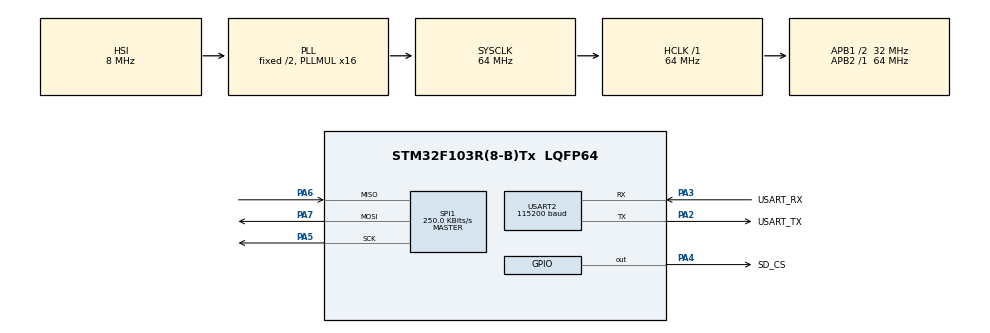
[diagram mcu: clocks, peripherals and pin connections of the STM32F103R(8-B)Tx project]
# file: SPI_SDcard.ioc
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Mcu.Family=STM32F1
Mcu.Name=STM32F103R(8-B)Tx
Mcu.Package=LQFP64
NVIC.PriorityGroup=NVIC_PRIORITYGROUP_4
PA13.GPIO_Label=TMS
PA13.Mode=Serial_Wire
PA13.Signal=SYS_JTMS-SWDIO
PA14.GPIO_Label=TCK
PA14.Mode=Serial_Wire
PA14.Signal=SYS_JTCK-SWCLK
PA2.GPIO_Label=USART_TX
PA2.GPIO_Mode=GPIO_MODE_AF_PP
PA2.GPIO_PuPd=GPIO_NOPULL
PA2.GPIO_Speed=GPIO_SPEED_FREQ_LOW
PA2.Mode=Asynchronous
PA2.Signal=USART2_TX
PA3.GPIO_Label=USART_RX
PA3.GPIO_PuPd=GPIO_NOPULL
PA3.GPIO_Speed=GPIO_SPEED_FREQ_LOW
PA3.Mode=Asynchronous
PA3.Signal=USART2_RX
PA4.GPIO_Label=SD_CS
PA4.GPIO_ModeDefaultOutputPP=GPIO_MODE_OUTPUT_PP
PA4.GPIO_PuPd=GPIO_NOPULL
PA4.GPIO_Speed=GPIO_SPEED_FREQ_HIGH
PA4.PinState=GPIO_PIN_SET
PA4.Signal=GPIO_Output
PA5.GPIO_Speed=GPIO_SPEED_FREQ_HIGH
PA5.Mode=Full_Duplex_Master
PA5.Signal=SPI1_SCK
PA6.GPIO_PuPd=GPIO_PULLUP
PA6.Mode=Full_Duplex_Master
PA6.Signal=SPI1_MISO
PA7.GPIO_Speed=GPIO_SPEED_FREQ_HIGH
PA7.Mode=Full_Duplex_Master
PA7.Signal=SPI1_MOSI
PB3.GPIO_Label=SWO
PB3.Signal=SYS_JTDO-TRACESWO
PC14-OSC32_IN.Mode=LSE-External-Oscillator
PC14-OSC32_IN.Signal=RCC_OSC32_IN
PC15-OSC32_OUT.Mode=LSE-External-Oscillator
PC15-OSC32_OUT.Signal=RCC_OSC32_OUT
PD0-OSC_IN.Mode=HSE-External-Clock-Source
PD0-OSC_IN.Signal=RCC_OSC_IN
PD1-OSC_OUT.Mode=HSE-External-Clock-Source
PD1-OSC_OUT.Signal=RCC_OSC_OUT
ProjectManager.HeapSize=0x200
ProjectManager.StackSize=0x400
ProjectManager.TargetToolchain=STM32CubeIDE
RCC.AHBFreq_Value=64000000
RCC.APB1CLKDivider=RCC_HCLK_DIV2
RCC.APB1Freq_Value=32000000
RCC.APB1TimFreq_Value=64000000
RCC.APB2Freq_Value=64000000
RCC.APB2TimFreq_Value=64000000
RCC.HCLKFreq_Value=64000000
RCC.PLLMUL=RCC_PLL_MUL16
RCC.RTCClockSelection=RCC_RTCCLKSOURCE_LSE
RCC.SYSCLKFreq_VALUE=64000000
RCC.SYSCLKSource=RCC_SYSCLKSOURCE_PLLCLK
RCC.USBFreq_Value=64000000
SPI1.BaudRatePrescaler=SPI_BAUDRATEPRESCALER_256
SPI1.CalculateBaudRate=250.0 KBits/s
SPI1.Direction=SPI_DIRECTION_2LINES
SPI1.Mode=SPI_MODE_MASTER
SPI1.VirtualType=VM_MASTER
USART2.BaudRate=115200
USART2.VirtualMode=VM_ASYNC
board=NUCLEO-F103RB

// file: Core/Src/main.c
/* USER CODE BEGIN Header */
/**
 ******************************************************************************
 * @file           : main.c
 * @brief          : Main program body
 ******************************************************************************
 * @attention
 *
 * Copyright (c) 2026 STMicroelectronics.
 * All rights reserved.
 *
 * This software is licensed under terms that can be found in the LICENSE file
 * in the root directory of this software component.
 * If no LICENSE file comes with this software, it is provided AS-IS.
 *
 ******************************************************************************
 */
/**
 * 04_SPI_SDcard_c  —  [계층: HAL]  SPI 모드로 SD 카드 초기화와 섹터 읽기 (파일시스템 없이 raw 블록 접근)
 *
 * 배선 (마이크로 SD 모듈, SPI 모드, 3.3V 전용 모듈 사용)
 *   VCC=3.3V, GND
 *   SCK = PA5 (SPI1_SCK, LD2 와 공유),  MOSI = PA7,  MISO = PA6,  CS = PA4 (GPIO)
 *   MISO 에 10kΩ 풀업을 두면 카드가 없을 때도 선이 안정적이다.
 *
 * SD 카드 SPI 모드 초기화 순서 (SD 물리 계층 규격)
 *   1) 카드 선택 해제(CS=High) 상태로 SCK 74클럭 이상, 클럭 400kHz 이하 (아래에서는 250kHz 로 시작)
 *   2) CMD0 (GO_IDLE_STATE)  -> R1 = 0x01 (idle) : 이 명령으로 SPI 모드가 선택된다 (CRC 0x95 필수)
 *   3) CMD8 (SEND_IF_COND, 인자 0x1AA) -> 응답 R7 : 전압 범위/체크 패턴 확인. (v2 카드 이상, CRC 0x87)
 *   4) ACMD41 (= CMD55 + CMD41, 인자 HCS=0x40000000) 를 R1 = 0x00 이 될 때까지 반복 : 카드 내부 초기화 완료 대기
 *   5) CMD58 (READ_OCR) : OCR 의 CCS 비트(0x40000000)가 1 이면 SDHC/SDXC (블록 주소 지정), 0 이면 SDSC (바이트 주소 지정)
 *   6) 이후 클럭을 올린다(여기서는 8MHz)
 *   블록 읽기: CMD17 (READ_SINGLE_BLOCK, 인자 = 섹터 번호(SDHC) 또는 바이트 주소(SDSC)) -> R1 -> 데이터 토큰 0xFE -> 512바이트 -> CRC 2바이트
 *   용량:      CMD9 (SEND_CSD) 로 16바이트 CSD 를 읽어 C_SIZE 로 계산
 *
 * 동작: 초기화 -> 카드 종류/용량/OCR 출력 -> 섹터 0 을 읽어 앞부분 16바이트와 MBR 서명(0x55AA)/첫 파티션 정보를 UART(115200)로 출력.
 *       *** 이 예제는 읽기만 한다. 카드 내용을 바꾸지 않는다. ***
 * 이후 단계: FAT 파일시스템(FatFs, 프레임워크 Middlewares/Third_Party/FatFs)은 이 read/write 블록 함수 위에 붙인다.
 *
 * 인터럽트를 사용하지 않는다 (블로킹 SPI).
 */
/* USER CODE END Header */
#include "main.h"

/* USER CODE BEGIN Includes */
#include <stdio.h>
#include <string.h>
/* USER CODE END Includes */

/* USER CODE BEGIN PD */
#define CS_LOW()   HAL_GPIO_WritePin(SD_CS_GPIO_Port, SD_CS_Pin, GPIO_PIN_RESET)
#define CS_HIGH()  HAL_GPIO_WritePin(SD_CS_GPIO_Port, SD_CS_Pin, GPIO_PIN_SET)

/* USER CODE END PD */

SPI_HandleTypeDef hspi1;
UART_HandleTypeDef huart2;

/* USER CODE BEGIN PV */
static int is_sdhc;             /* 1 = 블록(섹터) 주소, 0 = 바이트 주소 */
/* USER CODE END PV */

void SystemClock_Config(void);
static void MX_GPIO_Init(void);
static void MX_SPI1_Init(void);
static void MX_USART2_UART_Init(void);
/* USER CODE BEGIN PFP */
static void SPI1_Reinit(uint32_t prescaler);

/* USER CODE END PFP */

/* USER CODE BEGIN 0 */
static void print(const char *s) { HAL_UART_Transmit(&huart2, (uint8_t *)s, (uint16_t)strlen(s), 200); }

/* ---------------- SPI 1바이트 교환 ---------------- */
static uint8_t xfer(uint8_t b)
{
    uint8_t r = 0xFF;
    HAL_SPI_TransmitReceive(&hspi1, &b, &r, 1, 20);
    return r;
}

static void deselect(void) { CS_HIGH(); xfer(0xFF); }       /* 카드가 MISO 를 놓도록 추가 클럭 8개 */

/* 명령 전송 후 R1 응답 반환 (0xFF = 응답 없음). CS 는 호출자가 관리 */
static uint8_t sd_cmd(uint8_t cmd, uint32_t arg)
{
    uint8_t crc = (cmd == 0) ? 0x95 : (cmd == 8) ? 0x87 : 0x01;   /* SPI 모드에서는 CMD0, CMD8 만 CRC 검사 */
    xfer(0xFF);                                             /* 준비 클럭 */
    xfer((uint8_t)(0x40 | cmd));
    xfer((uint8_t)(arg >> 24)); xfer((uint8_t)(arg >> 16)); xfer((uint8_t)(arg >> 8)); xfer((uint8_t)arg);
    xfer(crc);
    uint8_t r = 0xFF;
    for (int i = 0; i < 10 && (r & 0x80); i++) r = xfer(0xFF);   /* R1 은 최상위 비트가 0 인 첫 바이트 */
    return r;
}

/* 초기화. 성공 시 1 */
static int sd_init(void)
{
    SPI1_Reinit(SPI_BAUDRATEPRESCALER_256);             /* 64MHz/256 = 250kHz (초기화는 400kHz 이하) */
    CS_HIGH();
    for (int i = 0; i < 10; i++) xfer(0xFF);                /* 80 클럭 */

    CS_LOW();
    if (sd_cmd(0, 0) != 0x01) { deselect(); print("CMD0 failed (no card / wiring)\r\n"); return 0; }

    uint8_t r7[4] = {0};
    is_sdhc = 0;
    if (sd_cmd(8, 0x1AA) == 0x01)                           /* v2 카드 */
    {
        for (int i = 0; i < 4; i++) r7[i] = xfer(0xFF);
        if (r7[2] != 0x01 || r7[3] != 0xAA) { deselect(); print("CMD8 echo mismatch\r\n"); return 0; }

        uint32_t t0 = HAL_GetTick();
        uint8_t r;
        do { sd_cmd(55, 0); r = sd_cmd(41, 0x40000000); }   /* ACMD41 with HCS */
        while (r != 0x00 && (HAL_GetTick() - t0) < 1000);
        if (r != 0x00) { deselect(); print("ACMD41 timeout\r\n"); return 0; }

        if (sd_cmd(58, 0) == 0x00)                          /* OCR 읽기 */
        {
            uint8_t ocr[4];
            for (int i = 0; i < 4; i++) ocr[i] = xfer(0xFF);
            is_sdhc = (ocr[0] & 0x40) != 0;                 /* CCS 비트 */
            char m[64];
            snprintf(m, sizeof m, "OCR = %02X%02X%02X%02X\r\n", ocr[0], ocr[1], ocr[2], ocr[3]);
            print(m);
        }
    }
    else                                                    /* v1 카드/MMC: 이 예제는 v2 이상만 지원 */
    {
        deselect(); print("v1 card not supported by this example\r\n"); return 0;
    }
    deselect();
    SPI1_Reinit(SPI_BAUDRATEPRESCALER_8);               /* 이후 8MHz */
    return 1;
}

/* 512바이트 블록 하나 읽기. 성공 시 1 */
static int sd_read_block(uint32_t sector, uint8_t *buf)
{
    CS_LOW();
    if (sd_cmd(17, is_sdhc ? sector : sector * 512UL) != 0x00) { deselect(); return 0; }
    uint32_t t0 = HAL_GetTick();
    uint8_t tok;
    do { tok = xfer(0xFF); } while (tok == 0xFF && (HAL_GetTick() - t0) < 200);   /* 데이터 토큰 대기 */
    if (tok != 0xFE) { deselect(); return 0; }
    for (int i = 0; i < 512; i++) buf[i] = xfer(0xFF);
    xfer(0xFF); xfer(0xFF);                                 /* CRC 2바이트 (버림) */
    deselect();
    return 1;
}

/* CSD 로 용량(MB) 계산. 실패 시 0 */
static uint32_t sd_capacity_mb(void)
{
    uint8_t csd[16];
    CS_LOW();
    if (sd_cmd(9, 0) != 0x00) { deselect(); return 0; }
    uint32_t t0 = HAL_GetTick();
    uint8_t tok;
    do { tok = xfer(0xFF); } while (tok == 0xFF && (HAL_GetTick() - t0) < 200);
    if (tok != 0xFE) { deselect(); return 0; }
    for (int i = 0; i < 16; i++) csd[i] = xfer(0xFF);
    xfer(0xFF); xfer(0xFF);
    deselect();

    if ((csd[0] >> 6) == 1)                                 /* CSD v2 (SDHC/SDXC): 용량 = (C_SIZE+1) x 512KB */
    {
        uint32_t c_size = ((uint32_t)(csd[7] & 0x3F) << 16) | ((uint32_t)csd[8] << 8) | csd[9];
        return (c_size + 1) / 2;                            /* (C_SIZE+1) x 512KB = (C_SIZE+1)/2 MB */
    }
    uint32_t c_size = ((uint32_t)(csd[6] & 3) << 10) | ((uint32_t)csd[7] << 2) | (csd[8] >> 6);   /* CSD v1 */
    uint32_t mult = ((csd[9] & 3) << 1) | (csd[10] >> 7);
    uint32_t blen = csd[5] & 0x0F;
    return (uint32_t)(((uint64_t)(c_size + 1) << (mult + 2 + blen)) >> 20);
}
/* USER CODE END 0 */

int main(void)
{

  /* MCU Configuration--------------------------------------------------------*/

  /* Reset of all peripherals, Initializes the Flash interface and the Systick. */
  HAL_Init();

  /* Configure the system clock */
  SystemClock_Config();

  /* Initialize all configured peripherals */
  MX_GPIO_Init();
  MX_SPI1_Init();
  MX_USART2_UART_Init();
  /* USER CODE BEGIN 2 */
  print("\r\n[SD card over SPI] initializing...\r\n");
  if (!sd_init()) { print("init failed\r\n"); Error_Handler(); }

  char m[128];
  snprintf(m, sizeof m, "card type: %s,  capacity: %lu MB\r\n", is_sdhc ? "SDHC/SDXC (block addressing)" : "SDSC (byte addressing)",
           (unsigned long)sd_capacity_mb());
  print(m);

  static uint8_t sec[512];
  if (!sd_read_block(0, sec)) { print("read sector 0 failed\r\n"); Error_Handler(); }

  print("sector 0, first 16 bytes:");
  for (int i = 0; i < 16; i++) { snprintf(m, sizeof m, " %02X", sec[i]); print(m); }
  print("\r\n");
  snprintf(m, sizeof m, "signature @510 = %02X %02X  (%s)\r\n", sec[510], sec[511],
           (sec[510] == 0x55 && sec[511] == 0xAA) ? "valid MBR/boot sector" : "no MBR signature");
  print(m);
  if (sec[510] == 0x55 && sec[511] == 0xAA)
  {
      uint32_t lba = sec[454] | (sec[455] << 8) | (sec[456] << 16) | ((uint32_t)sec[457] << 24);
      snprintf(m, sizeof m, "partition 1: type=0x%02X  start LBA=%lu\r\n", sec[450], (unsigned long)lba);
      print(m);
  }
  /* USER CODE END 2 */

  /* Infinite loop */
  while (1)
  {

    /* USER CODE BEGIN 3 */
    HAL_Delay(1000);                          /* (LD2 는 SPI SCK 와 같은 핀이라 점멸 표시를 쓰지 않는다) */
  }
  /* USER CODE END 3 */
}

void SystemClock_Config(void)
{
  RCC_OscInitTypeDef RCC_OscInitStruct = {0};
  RCC_ClkInitTypeDef RCC_ClkInitStruct = {0};

  /** Initializes the RCC Oscillators according to the specified parameters
  * in the RCC_OscInitTypeDef structure.
  */
  RCC_OscInitStruct.OscillatorType = RCC_OSCILLATORTYPE_HSI;
  RCC_OscInitStruct.HSIState = RCC_HSI_ON;
  RCC_OscInitStruct.HSICalibrationValue = RCC_HSICALIBRATION_DEFAULT;
  RCC_OscInitStruct.PLL.PLLState = RCC_PLL_ON;
  RCC_OscInitStruct.PLL.PLLSource = RCC_PLLSOURCE_HSI_DIV2;
  RCC_OscInitStruct.PLL.PLLMUL = RCC_PLL_MUL16;
  if (HAL_RCC_OscConfig(&RCC_OscInitStruct) != HAL_OK)
  {
    Error_Handler();
  }

  /** Initializes the CPU, AHB and APB buses clocks
  */
  RCC_ClkInitStruct.ClockType = RCC_CLOCKTYPE_HCLK|RCC_CLOCKTYPE_SYSCLK
                              |RCC_CLOCKTYPE_PCLK1|RCC_CLOCKTYPE_PCLK2;
  RCC_ClkInitStruct.SYSCLKSource = RCC_SYSCLKSOURCE_PLLCLK;
  RCC_ClkInitStruct.AHBCLKDivider = RCC_SYSCLK_DIV1;
  RCC_ClkInitStruct.APB1CLKDivider = RCC_HCLK_DIV2;
  RCC_ClkInitStruct.APB2CLKDivider = RCC_HCLK_DIV1;

  if (HAL_RCC_ClockConfig(&RCC_ClkInitStruct, FLASH_LATENCY_2) != HAL_OK)
  {
    Error_Handler();
  }
}

static void MX_GPIO_Init(void)
{
  GPIO_InitTypeDef GPIO_InitStruct = {0};

  /* GPIO Ports Clock Enable */
  __HAL_RCC_GPIOC_CLK_ENABLE();
  __HAL_RCC_GPIOD_CLK_ENABLE();
  __HAL_RCC_GPIOA_CLK_ENABLE();
  __HAL_RCC_GPIOB_CLK_ENABLE();

  /*Configure GPIO pin Output Level */
  HAL_GPIO_WritePin(SD_CS_GPIO_Port, SD_CS_Pin, GPIO_PIN_SET);

  /*Configure GPIO pin : SD_CS_Pin */
  GPIO_InitStruct.Pin = SD_CS_Pin;
  GPIO_InitStruct.Mode = GPIO_MODE_OUTPUT_PP;
  GPIO_InitStruct.Pull = GPIO_NOPULL;
  GPIO_InitStruct.Speed = GPIO_SPEED_FREQ_HIGH;
  HAL_GPIO_Init(SD_CS_GPIO_Port, &GPIO_InitStruct);

}

static void MX_SPI1_Init(void)
{

  /* SPI1 parameter configuration*/
  hspi1.Instance = SPI1;
  hspi1.Init.Mode = SPI_MODE_MASTER;
  hspi1.Init.Direction = SPI_DIRECTION_2LINES;
  hspi1.Init.DataSize = SPI_DATASIZE_8BIT;
  hspi1.Init.CLKPolarity = SPI_POLARITY_LOW;
  hspi1.Init.CLKPhase = SPI_PHASE_1EDGE;
  hspi1.Init.NSS = SPI_NSS_SOFT;
  hspi1.Init.BaudRatePrescaler = SPI_BAUDRATEPRESCALER_256;
  hspi1.Init.FirstBit = SPI_FIRSTBIT_MSB;
  hspi1.Init.TIMode = SPI_TIMODE_DISABLE;
  hspi1.Init.CRCCalculation = SPI_CRCCALCULATION_DISABLE;
  hspi1.Init.CRCPolynomial = 10;
  if (HAL_SPI_Init(&hspi1) != HAL_OK)
  {
    Error_Handler();
  }

}

static void MX_USART2_UART_Init(void)
{

  huart2.Instance = USART2;
  huart2.Init.BaudRate = 115200;
  huart2.Init.WordLength = UART_WORDLENGTH_8B;
  huart2.Init.StopBits = UART_STOPBITS_1;
  huart2.Init.Parity = UART_PARITY_NONE;
  huart2.Init.Mode = UART_MODE_TX_RX;
  huart2.Init.HwFlowCtl = UART_HWCONTROL_NONE;
  huart2.Init.OverSampling = UART_OVERSAMPLING_16;
  if (HAL_UART_Init(&huart2) != HAL_OK)
  {
    Error_Handler();
  }

}

/* USER CODE BEGIN 4 */
/* SPI1 분주비 변경: HAL_SPI_DeInit(MspDeInit: SPI1EN/핀 해제) -> BR 변경 -> HAL_SPI_Init(MspInit 재실행)
 * SPI1->CR1.BR[2:0] 은 SPE=0 상태에서만 바꿀 수 있으므로 HAL 이 SPE 를 끄고 다시 쓴다.
 * MX_SPI1_Init() 은 CubeMX 가 생성하는 고정값 초기화라, 런타임 변경용 함수를 USER CODE 에 따로 둔다. */
static void SPI1_Reinit(uint32_t prescaler)
{
  if (hspi1.State != HAL_SPI_STATE_RESET) HAL_SPI_DeInit(&hspi1);
  hspi1.Init.BaudRatePrescaler = prescaler;               /* CR1.BR[2:0] */
  if (HAL_SPI_Init(&hspi1) != HAL_OK) Error_Handler();
}
/* USER CODE END 4 */

void Error_Handler(void)
{
  __disable_irq();
  while (1) {
  }
}
#ifdef USE_FULL_ASSERT
/**
  * @brief  Reports the name of the source file and the source line number
  *         where the assert_param error has occurred.
  * @param  file: pointer to the source file name
  * @param  line: assert_param error line source number
  * @retval None
  */
void assert_failed(uint8_t *file, uint32_t line)
{
  /* USER CODE BEGIN 6 */
  /* User can add his own implementation to report the file name and line
     number, ex: printf("Wrong parameters value: file %s on line %d\r\n", file,
     line) */
  /* USER CODE END 6 */
}
#endif /* USE_FULL_ASSERT */
